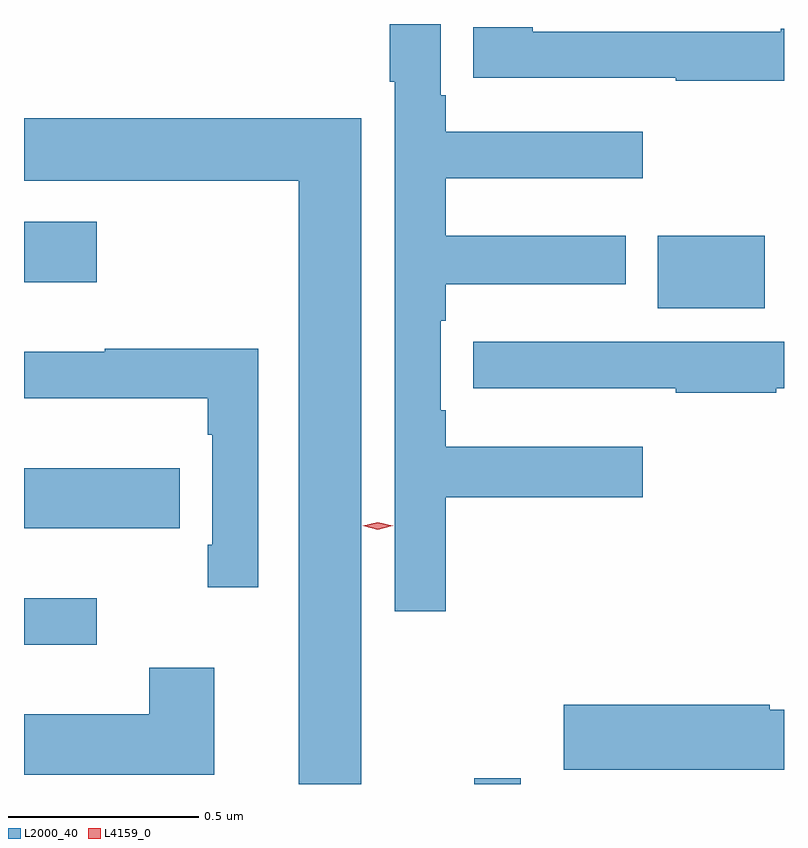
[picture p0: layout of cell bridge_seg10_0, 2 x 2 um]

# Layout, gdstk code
import gdstk
lib = gdstk.Library(unit=1e-6, precision=1e-09)
def R(c, l, rs):  # rectangles x0, y0, x1, y1
    for r in rs: c.add(gdstk.rectangle(r[:2], r[2:], *l))
def P(c, l, *ps):  # polygons
    for p in ps: c.add(gdstk.Polygon(p, *l))
L2000_40 = (2000, 40)
L4159_0 = (4159, 0)

bridge_seg10_0 = lib.new_cell('bridge_seg10_0')
R(bridge_seg10_0, L2000_40, [(1142.942,1328.974,1143.064,1328.989), (1141.757,1329.341,1141.948,1329.463), (1141.757,1329.647,1142.167,1329.805), (1143.425,1330.226,1143.706,1330.417), (1141.757,1330.295,1141.948,1330.453)])
P(bridge_seg10_0, L2000_40, [(1142.867,1329.728),(1143.385,1329.728),(1143.385,1329.862),(1142.867,1329.862),(1142.867,1329.958),(1142.854,1329.958),(1142.854,1330.193),(1142.867,1330.193),(1142.867,1330.289),(1143.34,1330.289),(1143.34,1330.417),(1142.867,1330.417),(1142.867,1330.568),(1143.385,1330.568),(1143.385,1330.69),(1142.867,1330.69),(1142.867,1330.786),(1142.854,1330.786),(1142.854,1330.974),(1142.72,1330.974),(1142.72,1330.822),(1142.732,1330.822),(1142.732,1329.429),(1142.867,1329.429)],
  [(1143.757,1330.962),(1143.748,1330.962),(1143.748,1330.954),(1143.096,1330.954),(1143.096,1330.966),(1142.939,1330.966),(1142.939,1330.832),(1143.472,1330.832),(1143.472,1330.825),(1143.757,1330.825)],
  [(1142.644,1330.726),(1141.757,1330.726),(1141.757,1330.562),(1142.48,1330.562),(1142.48,1328.974),(1142.644,1328.974)],
  [(1143.736,1330.016),(1143.757,1330.016),(1143.757,1330.138),(1142.939,1330.138),(1142.939,1330.016),(1143.472,1330.016),(1143.472,1330.004),(1143.736,1330.004)],
  [(1142.374,1330.119),(1141.97,1330.119),(1141.97,1330.111),(1141.757,1330.111),(1141.757,1329.989),(1142.24,1329.989),(1142.24,1329.893),(1142.252,1329.893),(1142.252,1329.604),(1142.24,1329.604),(1142.24,1329.492),(1142.374,1329.492)],
  [(1142.257,1329.28),(1142.087,1329.28),(1142.087,1329.157),(1141.757,1329.157),(1141.757,1328.999),(1142.257,1328.999)],
  [(1143.757,1329.169),(1143.72,1329.169),(1143.72,1329.182),(1143.177,1329.182),(1143.177,1329.011),(1143.757,1329.011)])
P(bridge_seg10_0, L4159_0, [(1142.688,1329.643),(1142.648,1329.653),(1142.648,1329.653),(1142.648,1329.654),(1142.688,1329.663),(1142.728,1329.654),(1142.729,1329.653),(1142.728,1329.653)])

lib.write_gds('bridge_seg10_0.gds')
